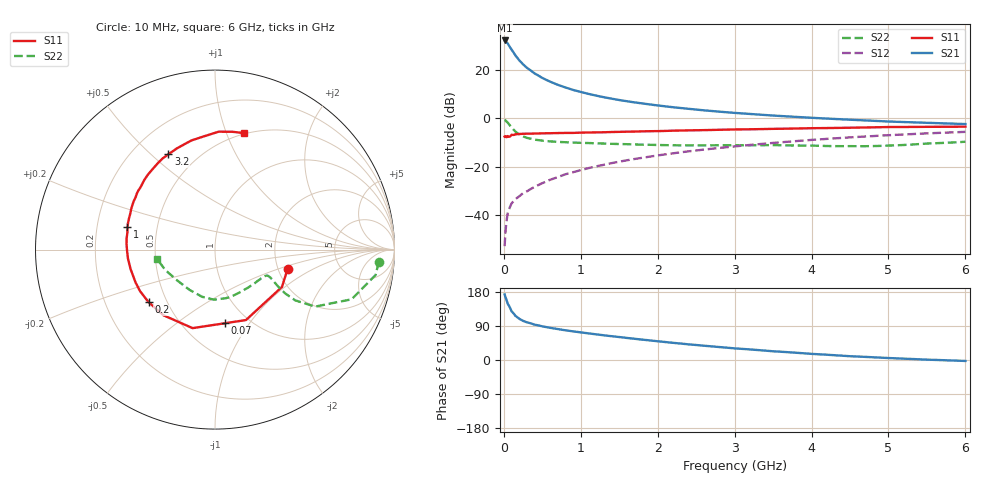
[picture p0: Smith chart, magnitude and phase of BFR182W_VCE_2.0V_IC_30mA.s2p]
! Infineon Technologies  Discrete & RF Semiconductors
! BFR182W
! VCE =  2.0 V,  IC =  30 mA
! Common Emitter S-Parameters:  Jan 2017
# GHz  S  MA  R  50
!  f  S11  S21  S12  S22
! GHz  MAG  ANG  MAG  ANG  MAG  ANG  MAG  ANG
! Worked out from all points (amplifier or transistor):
!   77 points, 10 MHz to 6 GHz, reference 50 ohm
!   highest |S21| = 32.0 dB at 10 MHz (marker M1)
!   |S21| within 3 dB of that: start of sweep to 84.31 MHz
!   unconditionally stable (mu >= 1): 373.3 MHz to 2.629 GHz
!   at 130 MHz: K = 0.60, MSG = 30.5 dB, |S12| = -34.0 dB
!   at 2.2 GHz: K = 1.04, MAG = 8.3 dB, |S12| = -14.5 dB
!   at 6 GHz: K = 0.93, MSG = 1.6 dB, |S12| = -5.6 dB
!   S11 on the Smith chart (normalised r, x): 10 MHz: 2.25, -0.58; 70 MHz: 0.78, -0.77; 200 MHz: 0.40, -0.30; 1 GHz: 0.34, +0.11; 3.2 GHz: 0.35, +0.57; 6 GHz: 0.49, +1.15
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0.01  0.4185 -14.8  40.03 173.0  0.0023 76.8  0.9153 -4.2
0.02  0.4272 -29.1  39.87 166.5  0.0042 81.6  0.9058 -9.0
0.05  0.4287 -66.3  34.75 148.6  0.0109 66.9  0.8096 -20.0
0.07  0.414 -82.6  30.82 141.9  0.0135 63.5  0.7405 -23.3
0.1  0.455 -105.9  26 128.4  0.0174 60.4  0.6427 -29.6
0.15  0.4651 -128.1  19.72 116.6  0.0215 58.6  0.5293 -32.3
0.2  0.4721 -141.7  15.62 108.9  0.0245 60.1  0.4631 -32.0
0.25  0.4774 -151.0  12.88 103.3  0.0285 60.7  0.4209 -30.9
0.3  0.479 -157.4  10.91 99.4  0.0311 61.7  0.3929 -29.6
0.4  0.4826 -167.0  8.363 93.3  0.0384 65.8  0.3616 -27.7
0.5  0.4874 -173.9  6.75 88.8  0.0457 67.2  0.344 -26.7
0.6  0.4899 -179.0  5.674 85.0  0.0536 69.1  0.3326 -26.4
0.7  0.4938 176.4  4.886 81.7  0.0609 70.8  0.3249 -26.4
1  0.5033 165.7  3.473 72.9  0.085 72.3  0.3103 -29.1
1.1  0.5071 162.7  3.17 70.3  0.0934 72.5  0.3075 -30.5
1.5  0.5225 151.9  2.369 60.6  0.1269 71.4  0.2932 -37.4
2.1  0.5466 137.7  1.755 47.4  0.1797 68.2  0.2782 -52.0
3.1  0.588 118.0  1.254 29.3  0.2713 60.0  0.2766 -80.4
3.2  0.5907 116.1  1.222 27.9  0.2806 59.0  0.2763 -83.1
4.1  0.6239 100.8  1 15.0  0.3655 49.9  0.2693 -108.4
5.1  0.6578 86.9  0.843 4.4  0.4537 38.6  0.2759 -144.9
6  0.669 76.1  0.757 -2.5  0.5226 28.2  0.3265 -170.8
